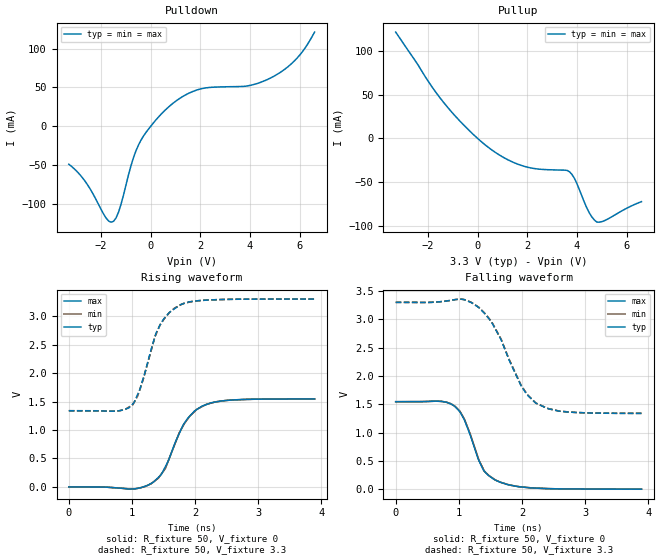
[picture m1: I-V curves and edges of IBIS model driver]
| IBIS file ex2_slowpre_tr1ps.ibs created by PYS2IBIS3
| Missouri S&T EMC Lab
[IBIS Ver] 7.1
[File Name] ex2_slowpre_tr1ps.ibs
[File Rev] 1.0
[Date] July 28, 2026
[Source] ex2 variant 'slowpre' -- predriver at half width
[Notes] Parameter selection; sim_time=3.894e-09, tr=tf=1.000e-12.
[Disclaimer] Experimental characterization for pybis observability study.
[Component] MCM Driver 1
[Manufacturer] MegaFLOPS Inc.
[Package]
| variable   typ   min   max
R_pkg 0 NA NA
L_pkg 0H NA NA
C_pkg 0F NA NA
[Pin]  signal_name   model_name   R_pin   L_pin   C_pin
vdd   vdd   POWER
gnd   gnd   GND
| in in dummy
out   out   driver
| End of Component
| Models and submodels in the file (1): driver (Output)
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[Model] driver
Model_type Output
Polarity Non-Inverting
Enable Active-Low
Vinl  = 0.8V
Vinh  = 2V
C_comp 5.0000pF 5.0000pF 5.0000pF
[Temperature Range] 27.0000 27.0000 27.0000
[Voltage Range] 3.3000V 3.3000V 3.3000V
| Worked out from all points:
|   slope of the pulldown table from 0 to 0.495 V, typ, clamps not added: 27.4 ohm
|   slope of the pullup table from 0 to 0.495 V, typ, clamps not added: 42.7 ohm
|   rising waveform, R_fixture 50, V_fixture 0: 20-80 % time 402ps typ, 389ps min, 389ps max; typ from 0 V to 1.54 V
|   rising waveform, R_fixture 50, V_fixture 3.3: 20-80 % time 348ps typ, 351ps min, 351ps max; typ from 1.34 V to 3.3 V
|   falling waveform, R_fixture 50, V_fixture 0: 20-80 % time 327ps typ, 325ps min, 325ps max; typ from 1.54 V to 0 V
|   falling waveform, R_fixture 50, V_fixture 3.3: 20-80 % time 503ps typ, 503ps min, 503ps max; typ from 3.3 V to 1.34 V
[Pulldown]
| Voltage   I(typ)   I(min)   I(max)
-3.3V     -48.93mA   -48.93mA   -48.93mA
-2.6V     -72.86mA   -72.86mA   -72.86mA
-1.8V     -118.2mA   -118.2mA   -118.2mA
-1.5V     -122.5mA   -122.5mA   -122.5mA
-1.3V     -110.9mA   -110.9mA   -110.9mA
-500mV    -24.59mA   -24.59mA   -24.59mA
600mV     21.34mA    21.34mA    21.34mA
1.9V      47.12mA    47.12mA    47.12mA
3.9V      51.99mA    51.99mA    51.99mA
4.9V      63.38mA    63.38mA    63.38mA
5.9V      87.99mA    87.99mA    87.99mA
6.6V      121.3mA    121.3mA    121.3mA
[Pullup]
| Voltage   I(typ)   I(min)   I(max)
-3.3V     122mA      122mA      122mA
-1.9V     61.75mA    61.75mA    61.75mA
-1.3V     38.86mA    38.86mA    38.86mA
-200mV    5.278mA    5.278mA    5.278mA
700mV     -15.75mA   -15.75mA   -15.75mA
2V        -32.92mA   -32.92mA   -32.92mA
3.7V      -38.24mA   -38.24mA   -38.24mA
3.9V      -45.89mA   -45.89mA   -45.89mA
4.5V      -85.43mA   -85.43mA   -85.43mA
4.8V      -95.97mA   -95.97mA   -95.97mA
5.1V      -94.48mA   -94.48mA   -94.48mA
6.6V      -72.53mA   -72.53mA   -72.53mA
[Ramp]
| variable   typ   min   max
dV/dt_r 0.9270/0.4019n 0.9270/0.3886n 0.9270/0.3886n
dV/dt_f 1.1766/0.503n 1.1766/0.5027n 1.1766/0.5027n
R_load = 50
[Rising Waveform]
R_fixture = 50
V_fixture = 0
|time   V(typ)   V(min)   V(max)
0s        7.302nV    7.302nV    7.302nV
1.029ns   -35.9mV    -37.17mV   -37.17mV
1.298ns   57.15mV    51.54mV    51.54mV
1.462ns   212.7mV    220.5mV    220.5mV
1.528ns   350.8mV    322mV      322mV
1.746ns   932.2mV    942.1mV    942.1mV
1.875ns   1.193V     1.184V     1.184V
2.175ns   1.445V     1.45V      1.45V
2.596ns   1.529V     1.528V     1.528V
3.894ns   1.545V     1.545V     1.545V
[Rising Waveform]
R_fixture = 50
V_fixture = 3.3
|time   V(typ)   V(min)   V(max)
0s        1.338V     1.338V     1.338V
752.3ps   1.331V     1.332V     1.332V
1.013ns   1.455V     1.444V     1.444V
1.119ns   1.69V      1.688V     1.688V
1.36ns    2.623V     2.624V     2.624V
1.442ns   2.839V     2.837V     2.837V
1.59ns    3.062V     3.06V      3.06V
1.762ns   3.2V       3.192V     3.192V
2.175ns   3.281V     3.282V     3.282V
3.894ns   3.3V       3.3V       3.3V
[Falling Waveform]
R_fixture = 50
V_fixture = 0
|time   V(typ)   V(min)   V(max)
0s        1.545V     1.545V     1.545V
721.1ps   1.551V     1.551V     1.551V
935.5ps   1.464V     1.468V     1.468V
1.017ns   1.369V     1.376V     1.376V
1.088ns   1.229V     1.239V     1.239V
1.314ns   517.8mV    523.3mV    523.3mV
1.392ns   332.3mV    346.3mV    346.3mV
1.629ns   133.5mV    136.4mV    136.4mV
2.156ns   21.63mV    21.15mV    21.15mV
3.894ns   98.62uV    103.9uV    103.9uV
[Falling Waveform]
R_fixture = 50
V_fixture = 3.3
|time   V(typ)   V(min)   V(max)
0s        3.3V       3.3V       3.3V
1.021ns   3.358V     3.358V     3.358V
1.317ns   3.208V     3.212V     3.212V
1.512ns   2.963V     2.969V     2.969V
1.661ns   2.662V     2.673V     2.673V
1.984ns   1.831V     1.839V     1.839V
2.222ns   1.517V     1.52V      1.52V
2.413ns   1.422V     1.423V     1.423V
2.736ns   1.362V     1.362V     1.362V
3.894ns   1.339V     1.339V     1.339V
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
